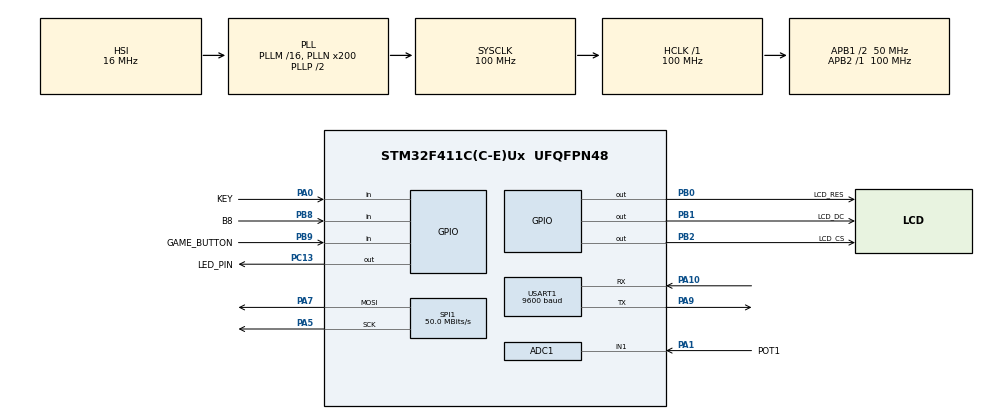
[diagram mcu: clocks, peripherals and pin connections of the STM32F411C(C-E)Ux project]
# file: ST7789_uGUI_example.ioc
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ADC1.Channel-0\#ChannelRegularConversion=ADC_CHANNEL_1
ADC1.NbrOfConversionFlag=1
ADC1.Rank-0\#ChannelRegularConversion=1
ADC1.SamplingTime-0\#ChannelRegularConversion=ADC_SAMPLETIME_3CYCLES
ADC1.master=1
Dma.Request0=SPI1_TX
Dma.SPI1_TX.0.Direction=DMA_MEMORY_TO_PERIPH
Dma.SPI1_TX.0.FIFOMode=DMA_FIFOMODE_DISABLE
Dma.SPI1_TX.0.Instance=DMA2_Stream2
Dma.SPI1_TX.0.MemDataAlignment=DMA_MDATAALIGN_BYTE
Dma.SPI1_TX.0.MemInc=DMA_MINC_ENABLE
Dma.SPI1_TX.0.Mode=DMA_NORMAL
Dma.SPI1_TX.0.PeriphDataAlignment=DMA_PDATAALIGN_BYTE
Dma.SPI1_TX.0.PeriphInc=DMA_PINC_DISABLE
Dma.SPI1_TX.0.Priority=DMA_PRIORITY_LOW
Mcu.Family=STM32F4
Mcu.Name=STM32F411C(C-E)Ux
Mcu.Package=UFQFPN48
NVIC.DMA2_Stream2_IRQn=true\:0\:0\:false\:false\:true\:false\:true\:true
NVIC.PriorityGroup=NVIC_PRIORITYGROUP_4
NVIC.USART1_IRQn=true\:0\:0\:false\:false\:true\:true\:true\:true
PA0-WKUP.GPIO_Label=KEY
PA0-WKUP.GPIO_PuPd=GPIO_PULLUP
PA0-WKUP.Signal=GPIO_Input
PA1.GPIO_Label=POT1
PA1.Signal=ADCx_IN1
PA10.Mode=Asynchronous
PA10.Signal=USART1_RX
PA13.Mode=Serial_Wire
PA13.Signal=SYS_JTMS-SWDIO
PA14.Mode=Serial_Wire
PA14.Signal=SYS_JTCK-SWCLK
PA5.GPIO_PuPd=GPIO_PULLUP
PA5.Mode=TX_Only_Simplex_Unidirect_Master
PA5.Signal=SPI1_SCK
PA7.GPIO_PuPd=GPIO_PULLUP
PA7.Mode=TX_Only_Simplex_Unidirect_Master
PA7.Signal=SPI1_MOSI
PA9.Mode=Asynchronous
PA9.Signal=USART1_TX
PB0.GPIO_Label=LCD_RES
PB0.Signal=GPIO_Output
PB1.GPIO_Label=LCD_DC
PB1.Signal=GPIO_Output
PB2.GPIO_Label=LCD_CS
PB2.Signal=GPIO_Output
PB6.GPIO_Label=B6_SCL
PB6.Signal=I2C1_SCL
PB7.GPIO_Label=B7_SDA
PB7.Signal=I2C1_SDA
PB8.GPIO_Label=B8
PB8.Signal=GPIO_Input
PB9.GPIO_Label=GAME_BUTTON
PB9.GPIO_PuPd=GPIO_PULLUP
PB9.Signal=GPIO_Input
PC13-ANTI_TAMP.GPIO_Label=LED_PIN
PC13-ANTI_TAMP.Signal=GPIO_Output
PC14-OSC32_IN.Mode=LSE-External-Oscillator
PC14-OSC32_IN.Signal=RCC_OSC32_IN
PC15-OSC32_OUT.Mode=LSE-External-Oscillator
PC15-OSC32_OUT.Signal=RCC_OSC32_OUT
PH0\ -\ OSC_IN.Mode=HSE-External-Oscillator
PH0\ -\ OSC_IN.Signal=RCC_OSC_IN
PH1\ -\ OSC_OUT.Mode=HSE-External-Oscillator
PH1\ -\ OSC_OUT.Signal=RCC_OSC_OUT
ProjectManager.HeapSize=0x200
ProjectManager.StackSize=0x400
ProjectManager.TargetToolchain=STM32CubeIDE
RCC.48MHZClocksFreq_Value=50000000
RCC.AHBFreq_Value=100000000
RCC.APB1CLKDivider=RCC_HCLK_DIV2
RCC.APB1Freq_Value=50000000
RCC.APB1TimFreq_Value=100000000
RCC.APB2Freq_Value=100000000
RCC.APB2TimFreq_Value=100000000
RCC.CortexFreq_Value=100000000
RCC.HCLKFreq_Value=100000000
RCC.HSE_VALUE=25000000
RCC.HSI_VALUE=16000000
RCC.PLLN=200
RCC.SYSCLKFreq_VALUE=100000000
RCC.SYSCLKSource=RCC_SYSCLKSOURCE_PLLCLK
RCC.VCOOutputFreq_Value=200000000
SH.ADCx_IN1.0=ADC1_IN1,IN1
SPI1.BaudRatePrescaler=SPI_BAUDRATEPRESCALER_2
SPI1.CLKPolarity=SPI_POLARITY_HIGH
SPI1.CalculateBaudRate=50.0 MBits/s
SPI1.DataSize=SPI_DATASIZE_16BIT
SPI1.Direction=SPI_DIRECTION_2LINES
SPI1.FirstBit=SPI_FIRSTBIT_MSB
SPI1.Mode=SPI_MODE_MASTER
SPI1.VirtualType=VM_MASTER
USART1.BaudRate=9600
USART1.VirtualMode=VM_ASYNC
board=custom

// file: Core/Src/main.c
/* USER CODE BEGIN Header */
/**
  ******************************************************************************
  * @file           : main.c
  * @brief          : Main program body
  ******************************************************************************
  * @attention
  *
  * Copyright (c) 2024 STMicroelectronics.
  * All rights reserved.
  *
  * This software is licensed under terms that can be found in the LICENSE file
  * in the root directory of this software component.
  * If no LICENSE file comes with this software, it is provided AS-IS.
  *
  ******************************************************************************
  */
/* USER CODE END Header */
#include "main.h"

/* USER CODE BEGIN Includes */
#include "../../Drivers/LCD/lcd.h"

/* USER CODE END Includes */

ADC_HandleTypeDef hadc1;

SPI_HandleTypeDef hspi1;
DMA_HandleTypeDef hdma_spi1_tx;

UART_HandleTypeDef huart1;

void SystemClock_Config(void);
static void MX_GPIO_Init(void);
static void MX_DMA_Init(void);
static void MX_SPI1_Init(void);
static void MX_USART1_UART_Init(void);
static void MX_ADC1_Init(void);

int main(void)
{

  /* MCU Configuration--------------------------------------------------------*/

  /* Reset of all peripherals, Initializes the Flash interface and the Systick. */
  HAL_Init();

  /* Configure the system clock */
  SystemClock_Config();

  /* Initialize all configured peripherals */
  MX_GPIO_Init();
  MX_DMA_Init();
  MX_SPI1_Init();
  MX_USART1_UART_Init();
  MX_ADC1_Init();
  /* USER CODE BEGIN 2 */
  LCD_init();
  LCD_TearEffect(0);

  #define DEFAULT_FONT FONT_6X8

  #define fontHeight 8
  #define fontWidth 6

  #define textHeight fontHeight
  #define textWidth  fontWidth * 13
  #define xMax 239
  #define yMax xMax

  int x = 0;
  int y = 0;
  int xSpeed = 4;
  int ySpeed = 2;
  uint16_t color = 0x0000;

  UG_FontSetTransparency(1);
  uint8_t t;
  /* USER CODE END 2 */

  /* Infinite loop */
  while (1)
  {

    /* USER CODE BEGIN 3 */

	      UG_DrawBMP(0, 0, &shuttle);
	  	  //UG_FillScreen(C_RED);

	  	  xSpeed = ((x + textWidth > xMax) || (x < 0))? -xSpeed : xSpeed;
	  	  ySpeed = ((y + textHeight > yMax) || (y < 0))? -ySpeed : ySpeed;

	  	  x = xMax < (x + textWidth)? xMax - textWidth : x;
	  	  x = x < 0? 0 : x;
	  	  y = yMax < (y + textHeight)? yMax - textHeight : y;
	  	  y = y < 0? 0 : y;

	  	  t = UG_FontGetTransparency();

	  	  LCD_PutStr(x,y, "Space Shuttle", DEFAULT_FONT,color += 0b0101000101001010, C_BLACK);
	  	  UG_FontSetTransparency(t);

	  	  x += xSpeed;
	  	  y += ySpeed;

	      UG_Update();
	      //LCD_Test();

  }
  /* USER CODE END 3 */
}

void SystemClock_Config(void)
{
  RCC_OscInitTypeDef RCC_OscInitStruct = {0};
  RCC_ClkInitTypeDef RCC_ClkInitStruct = {0};

  /** Configure the main internal regulator output voltage
  */
  __HAL_RCC_PWR_CLK_ENABLE();
  __HAL_PWR_VOLTAGESCALING_CONFIG(PWR_REGULATOR_VOLTAGE_SCALE1);

  /** Initializes the RCC Oscillators according to the specified parameters
  * in the RCC_OscInitTypeDef structure.
  */
  RCC_OscInitStruct.OscillatorType = RCC_OSCILLATORTYPE_HSI;
  RCC_OscInitStruct.HSIState = RCC_HSI_ON;
  RCC_OscInitStruct.HSICalibrationValue = RCC_HSICALIBRATION_DEFAULT;
  RCC_OscInitStruct.PLL.PLLState = RCC_PLL_ON;
  RCC_OscInitStruct.PLL.PLLSource = RCC_PLLSOURCE_HSI;
  RCC_OscInitStruct.PLL.PLLM = 16;
  RCC_OscInitStruct.PLL.PLLN = 200;
  RCC_OscInitStruct.PLL.PLLP = RCC_PLLP_DIV2;
  RCC_OscInitStruct.PLL.PLLQ = 4;
  if (HAL_RCC_OscConfig(&RCC_OscInitStruct) != HAL_OK)
  {
    Error_Handler();
  }

  /** Initializes the CPU, AHB and APB buses clocks
  */
  RCC_ClkInitStruct.ClockType = RCC_CLOCKTYPE_HCLK|RCC_CLOCKTYPE_SYSCLK
                              |RCC_CLOCKTYPE_PCLK1|RCC_CLOCKTYPE_PCLK2;
  RCC_ClkInitStruct.SYSCLKSource = RCC_SYSCLKSOURCE_PLLCLK;
  RCC_ClkInitStruct.AHBCLKDivider = RCC_SYSCLK_DIV1;
  RCC_ClkInitStruct.APB1CLKDivider = RCC_HCLK_DIV2;
  RCC_ClkInitStruct.APB2CLKDivider = RCC_HCLK_DIV1;

  if (HAL_RCC_ClockConfig(&RCC_ClkInitStruct, FLASH_LATENCY_3) != HAL_OK)
  {
    Error_Handler();
  }
}

static void MX_ADC1_Init(void)
{

  ADC_ChannelConfTypeDef sConfig = {0};

  /** Configure the global features of the ADC (Clock, Resolution, Data Alignment and number of conversion)
  */
  hadc1.Instance = ADC1;
  hadc1.Init.ClockPrescaler = ADC_CLOCK_SYNC_PCLK_DIV4;
  hadc1.Init.Resolution = ADC_RESOLUTION_12B;
  hadc1.Init.ScanConvMode = DISABLE;
  hadc1.Init.ContinuousConvMode = DISABLE;
  hadc1.Init.DiscontinuousConvMode = DISABLE;
  hadc1.Init.ExternalTrigConvEdge = ADC_EXTERNALTRIGCONVEDGE_NONE;
  hadc1.Init.ExternalTrigConv = ADC_SOFTWARE_START;
  hadc1.Init.DataAlign = ADC_DATAALIGN_RIGHT;
  hadc1.Init.NbrOfConversion = 1;
  hadc1.Init.DMAContinuousRequests = DISABLE;
  hadc1.Init.EOCSelection = ADC_EOC_SINGLE_CONV;
  if (HAL_ADC_Init(&hadc1) != HAL_OK)
  {
    Error_Handler();
  }

  /** Configure for the selected ADC regular channel its corresponding rank in the sequencer and its sample time.
  */
  sConfig.Channel = ADC_CHANNEL_1;
  sConfig.Rank = 1;
  sConfig.SamplingTime = ADC_SAMPLETIME_3CYCLES;
  if (HAL_ADC_ConfigChannel(&hadc1, &sConfig) != HAL_OK)
  {
    Error_Handler();
  }

}

static void MX_SPI1_Init(void)
{

  /* SPI1 parameter configuration*/
  hspi1.Instance = SPI1;
  hspi1.Init.Mode = SPI_MODE_MASTER;
  hspi1.Init.Direction = SPI_DIRECTION_2LINES;
  hspi1.Init.DataSize = SPI_DATASIZE_16BIT;
  hspi1.Init.CLKPolarity = SPI_POLARITY_HIGH;
  hspi1.Init.CLKPhase = SPI_PHASE_1EDGE;
  hspi1.Init.NSS = SPI_NSS_SOFT;
  hspi1.Init.BaudRatePrescaler = SPI_BAUDRATEPRESCALER_2;
  hspi1.Init.FirstBit = SPI_FIRSTBIT_MSB;
  hspi1.Init.TIMode = SPI_TIMODE_DISABLE;
  hspi1.Init.CRCCalculation = SPI_CRCCALCULATION_DISABLE;
  hspi1.Init.CRCPolynomial = 10;
  if (HAL_SPI_Init(&hspi1) != HAL_OK)
  {
    Error_Handler();
  }

}

static void MX_USART1_UART_Init(void)
{

  huart1.Instance = USART1;
  huart1.Init.BaudRate = 9600;
  huart1.Init.WordLength = UART_WORDLENGTH_8B;
  huart1.Init.StopBits = UART_STOPBITS_1;
  huart1.Init.Parity = UART_PARITY_NONE;
  huart1.Init.Mode = UART_MODE_TX_RX;
  huart1.Init.HwFlowCtl = UART_HWCONTROL_NONE;
  huart1.Init.OverSampling = UART_OVERSAMPLING_16;
  if (HAL_UART_Init(&huart1) != HAL_OK)
  {
    Error_Handler();
  }

}

static void MX_DMA_Init(void)
{

  /* DMA controller clock enable */
  __HAL_RCC_DMA2_CLK_ENABLE();

  /* DMA interrupt init */
  /* DMA2_Stream2_IRQn interrupt configuration */
  HAL_NVIC_SetPriority(DMA2_Stream2_IRQn, 0, 0);
  HAL_NVIC_EnableIRQ(DMA2_Stream2_IRQn);

}

static void MX_GPIO_Init(void)
{
  GPIO_InitTypeDef GPIO_InitStruct = {0};

  /* GPIO Ports Clock Enable */
  __HAL_RCC_GPIOC_CLK_ENABLE();
  __HAL_RCC_GPIOH_CLK_ENABLE();
  __HAL_RCC_GPIOA_CLK_ENABLE();
  __HAL_RCC_GPIOB_CLK_ENABLE();

  /*Configure GPIO pin Output Level */
  HAL_GPIO_WritePin(LED_PIN_GPIO_Port, LED_PIN_Pin, GPIO_PIN_RESET);

  /*Configure GPIO pin Output Level */
  HAL_GPIO_WritePin(GPIOB, LCD_RES_Pin|LCD_DC_Pin|LCD_CS_Pin, GPIO_PIN_RESET);

  /*Configure GPIO pin : LED_PIN_Pin */
  GPIO_InitStruct.Pin = LED_PIN_Pin;
  GPIO_InitStruct.Mode = GPIO_MODE_OUTPUT_PP;
  GPIO_InitStruct.Pull = GPIO_NOPULL;
  GPIO_InitStruct.Speed = GPIO_SPEED_FREQ_LOW;
  HAL_GPIO_Init(LED_PIN_GPIO_Port, &GPIO_InitStruct);

  /*Configure GPIO pin : KEY_Pin */
  GPIO_InitStruct.Pin = KEY_Pin;
  GPIO_InitStruct.Mode = GPIO_MODE_INPUT;
  GPIO_InitStruct.Pull = GPIO_PULLUP;
  HAL_GPIO_Init(KEY_GPIO_Port, &GPIO_InitStruct);

  /*Configure GPIO pins : LCD_RES_Pin LCD_DC_Pin LCD_CS_Pin */
  GPIO_InitStruct.Pin = LCD_RES_Pin|LCD_DC_Pin|LCD_CS_Pin;
  GPIO_InitStruct.Mode = GPIO_MODE_OUTPUT_PP;
  GPIO_InitStruct.Pull = GPIO_NOPULL;
  GPIO_InitStruct.Speed = GPIO_SPEED_FREQ_LOW;
  HAL_GPIO_Init(GPIOB, &GPIO_InitStruct);

  /*Configure GPIO pins : B6_SCL_Pin B7_SDA_Pin */
  GPIO_InitStruct.Pin = B6_SCL_Pin|B7_SDA_Pin;
  GPIO_InitStruct.Mode = GPIO_MODE_AF_OD;
  GPIO_InitStruct.Pull = GPIO_NOPULL;
  GPIO_InitStruct.Speed = GPIO_SPEED_FREQ_VERY_HIGH;
  GPIO_InitStruct.Alternate = GPIO_AF4_I2C1;
  HAL_GPIO_Init(GPIOB, &GPIO_InitStruct);

  /*Configure GPIO pin : B8_Pin */
  GPIO_InitStruct.Pin = B8_Pin;
  GPIO_InitStruct.Mode = GPIO_MODE_INPUT;
  GPIO_InitStruct.Pull = GPIO_NOPULL;
  HAL_GPIO_Init(B8_GPIO_Port, &GPIO_InitStruct);

  /*Configure GPIO pin : GAME_BUTTON_Pin */
  GPIO_InitStruct.Pin = GAME_BUTTON_Pin;
  GPIO_InitStruct.Mode = GPIO_MODE_INPUT;
  GPIO_InitStruct.Pull = GPIO_PULLUP;
  HAL_GPIO_Init(GAME_BUTTON_GPIO_Port, &GPIO_InitStruct);

}

void Error_Handler(void)
{
  __disable_irq();
  while (1)
  {
  }
}
